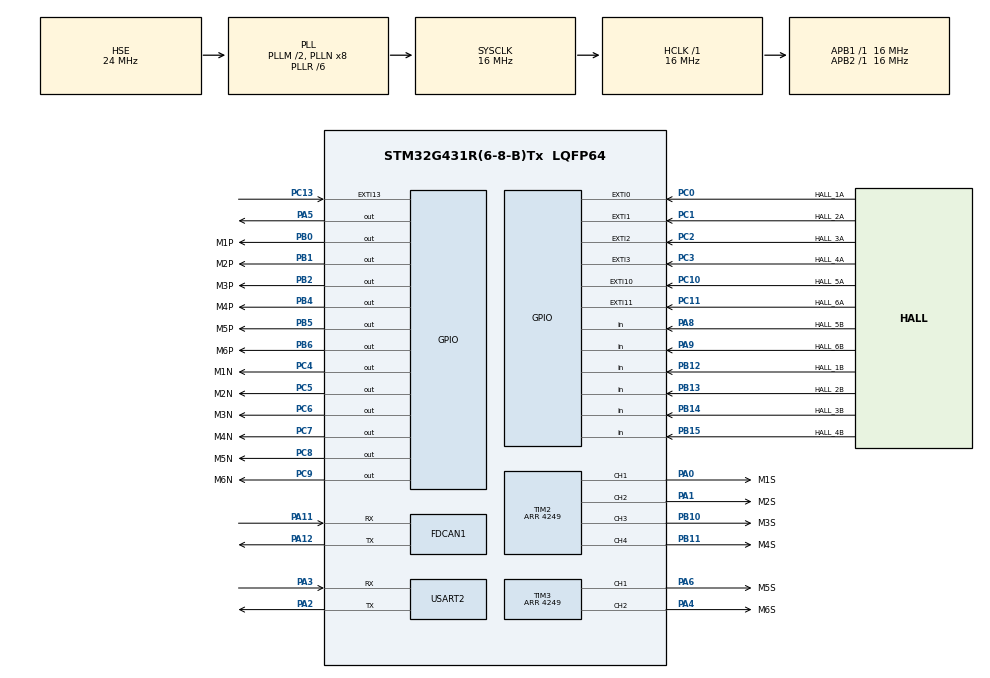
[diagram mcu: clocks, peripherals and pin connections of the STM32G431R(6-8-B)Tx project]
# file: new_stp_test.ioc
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FDCAN1.CalculateBaudRateNominal=125000
FDCAN1.CalculateTimeBitNominal=8000
FDCAN1.CalculateTimeQuantumNominal=500.0
FDCAN1.NominalPrescaler=8
FDCAN1.NominalTimeSeg1=11
FDCAN1.NominalTimeSeg2=4
Mcu.Family=STM32G4
Mcu.Name=STM32G431R(6-8-B)Tx
Mcu.Package=LQFP64
NUCLEO-G431RB.BUTTON=1
NUCLEO-G431RB.LD1=true
NUCLEO-G431RB.VCP=true
NVIC.EXTI0_IRQn=true\:0\:0\:false\:false\:true\:true\:true\:true
NVIC.EXTI15_10_IRQn=true\:0\:0\:false\:false\:true\:false\:true\:true
NVIC.EXTI1_IRQn=true\:0\:0\:false\:false\:true\:true\:true\:true
NVIC.EXTI2_IRQn=true\:0\:0\:false\:false\:true\:true\:true\:true
NVIC.EXTI3_IRQn=true\:0\:0\:false\:false\:true\:true\:true\:true
NVIC.PriorityGroup=NVIC_PRIORITYGROUP_4
PA0.GPIO_Label=M1S
PA0.Signal=S_TIM2_CH1
PA1.GPIO_Label=M2S
PA1.Signal=S_TIM2_CH2
PA11.Mode=FDCAN_Activate
PA11.Signal=FDCAN1_RX
PA12.Mode=FDCAN_Activate
PA12.Signal=FDCAN1_TX
PA13.GPIO_Label=T_SWDIO
PA13.Signal=SYS_JTMS-SWDIO
PA14.GPIO_Label=T_SWCLK
PA14.Signal=SYS_JTCK-SWCLK
PA2.Mode=Asynchronous
PA2.Signal=USART2_TX
PA3.Mode=Asynchronous
PA3.Signal=USART2_RX
PA4.GPIO_Label=M6S
PA4.Signal=S_TIM3_CH2
PA5.Signal=GPIO_Output
PA6.GPIO_Label=M5S
PA6.Signal=S_TIM3_CH1
PA8.GPIO_Label=HALL_5B
PA8.GPIO_PuPd=GPIO_PULLUP
PA8.Signal=GPIO_Input
PA9.GPIO_Label=HALL_6B
PA9.GPIO_PuPd=GPIO_PULLUP
PA9.Signal=GPIO_Input
PB0.GPIO_Label=M1P
PB0.Signal=GPIO_Output
PB1.GPIO_Label=M2P
PB1.Signal=GPIO_Output
PB10.GPIO_Label=M3S
PB10.Signal=S_TIM2_CH3
PB11.GPIO_Label=M4S
PB11.Signal=S_TIM2_CH4
PB12.GPIO_Label=HALL_1B
PB12.GPIO_PuPd=GPIO_PULLUP
PB12.Signal=GPIO_Input
PB13.GPIO_Label=HALL_2B
PB13.GPIO_PuPd=GPIO_PULLUP
PB13.Signal=GPIO_Input
PB14.GPIO_Label=HALL_3B
PB14.GPIO_PuPd=GPIO_PULLUP
PB14.Signal=GPIO_Input
PB15.GPIO_Label=HALL_4B
PB15.GPIO_PuPd=GPIO_PULLUP
PB15.Signal=GPIO_Input
PB2.GPIO_Label=M3P
PB2.Signal=GPIO_Output
PB3.GPIO_Label=T_SWO
PB3.Signal=SYS_JTDO-SWO
PB4.GPIO_Label=M4P
PB4.Signal=GPIO_Output
PB5.GPIO_Label=M5P
PB5.Signal=GPIO_Output
PB6.GPIO_Label=M6P
PB6.Signal=GPIO_Output
PC0.GPIO_Label=HALL_1A
PC0.GPIO_ModeDefaultEXTI=GPIO_MODE_IT_FALLING
PC0.GPIO_PuPd=GPIO_PULLUP
PC0.Signal=GPXTI0
PC1.GPIO_Label=HALL_2A
PC1.GPIO_ModeDefaultEXTI=GPIO_MODE_IT_FALLING
PC1.GPIO_PuPd=GPIO_PULLUP
PC1.Signal=GPXTI1
PC10.GPIO_Label=HALL_5A
PC10.GPIO_ModeDefaultEXTI=GPIO_MODE_IT_FALLING
PC10.GPIO_PuPd=GPIO_PULLUP
PC10.Signal=GPXTI10
PC11.GPIO_Label=HALL_6A
PC11.GPIO_ModeDefaultEXTI=GPIO_MODE_IT_FALLING
PC11.GPIO_PuPd=GPIO_PULLUP
PC11.Signal=GPXTI11
PC13.Signal=GPXTI13
PC14-OSC32_IN.GPIO_Label=RCC_OSC32_OUT
PC14-OSC32_IN.Signal=RCC_OSC32_IN
PC15-OSC32_OUT.GPIO_Label=RCC_OSC32_OUT
PC15-OSC32_OUT.Signal=RCC_OSC32_OUT
PC2.GPIO_Label=HALL_3A
PC2.GPIO_ModeDefaultEXTI=GPIO_MODE_IT_FALLING
PC2.GPIO_PuPd=GPIO_PULLUP
PC2.Signal=GPXTI2
PC3.GPIO_Label=HALL_4A
PC3.GPIO_ModeDefaultEXTI=GPIO_MODE_IT_FALLING
PC3.GPIO_PuPd=GPIO_PULLUP
PC3.Signal=GPXTI3
PC4.GPIO_Label=M1N
PC4.Signal=GPIO_Output
PC5.GPIO_Label=M2N
PC5.Signal=GPIO_Output
PC6.GPIO_Label=M3N
PC6.Signal=GPIO_Output
PC7.GPIO_Label=M4N
PC7.Signal=GPIO_Output
PC8.GPIO_Label=M5N
PC8.Signal=GPIO_Output
PC9.GPIO_Label=M6N
PC9.Signal=GPIO_Output
PF0-OSC_IN.GPIO_Label=RCC_OSC_IN
PF0-OSC_IN.Mode=HSE-External-Oscillator
PF0-OSC_IN.Signal=RCC_OSC_IN
PF1-OSC_OUT.GPIO_Label=RCC_OSC_OUT
PF1-OSC_OUT.Mode=HSE-External-Oscillator
PF1-OSC_OUT.Signal=RCC_OSC_OUT
ProjectManager.HeapSize=0x200
ProjectManager.StackSize=0x400
ProjectManager.TargetToolchain=STM32CubeIDE
RCC.ADC12Freq_Value=16000000
RCC.AHBFreq_Value=16000000
RCC.APB1Freq_Value=16000000
RCC.APB1TimFreq_Value=16000000
RCC.APB2Freq_Value=16000000
RCC.APB2TimFreq_Value=16000000
RCC.CortexFreq_Value=16000000
RCC.EXTERNAL_CLOCK_VALUE=12288000
RCC.HCLKFreq_Value=16000000
RCC.HSE_VALUE=24000000
RCC.HSI48_VALUE=48000000
RCC.HSI_VALUE=16000000
RCC.LSE_VALUE=32768
RCC.PLLM=RCC_PLLM_DIV2
RCC.PLLR=RCC_PLLR_DIV6
RCC.PLLSourceVirtual=RCC_PLLSOURCE_HSE
RCC.RTCClockSelection=RCC_RTCCLKSOURCE_LSE
RCC.SYSCLKFreq_VALUE=16000000
RCC.SYSCLKSource=RCC_SYSCLKSOURCE_PLLCLK
RCC.USBFreq_Value=48000000
RCC.VCOOutputFreq_Value=96000000
SH.S_TIM2_CH1.0=TIM2_CH1,PWM Generation1 CH1
SH.S_TIM2_CH2.0=TIM2_CH2,PWM Generation2 CH2
SH.S_TIM2_CH3.0=TIM2_CH3,PWM Generation3 CH3
SH.S_TIM2_CH4.0=TIM2_CH4,PWM Generation4 CH4
SH.S_TIM3_CH1.0=TIM3_CH1,PWM Generation1 CH1
SH.S_TIM3_CH2.0=TIM3_CH2,PWM Generation2 CH2
TIM1.Channel-PWM\ Generation1\ No\ Output=TIM_CHANNEL_1
TIM1.CounterMode=TIM_COUNTERMODE_CENTERALIGNED3
TIM1.PeriodNoDither=4249
TIM1.TIM_MasterOutputTrigger=TIM_TRGO_UPDATE
TIM1.TIM_MasterSlaveMode=TIM_MASTERSLAVEMODE_ENABLE
TIM2.Channel-PWM\ Generation1\ CH1=TIM_CHANNEL_1
TIM2.Channel-PWM\ Generation2\ CH2=TIM_CHANNEL_2
TIM2.Channel-PWM\ Generation3\ CH3=TIM_CHANNEL_3
TIM2.Channel-PWM\ Generation4\ CH4=TIM_CHANNEL_4
TIM2.CounterMode=TIM_COUNTERMODE_CENTERALIGNED3
TIM2.PeriodNoDither=4249
TIM2.PulseNoDither_2=2125
TIM2.PulseNoDither_3=2125
TIM2.PulseNoDither_4=2125
TIM3.Channel-PWM\ Generation1\ CH1=TIM_CHANNEL_1
TIM3.Channel-PWM\ Generation2\ CH2=TIM_CHANNEL_2
TIM3.CounterMode=TIM_COUNTERMODE_CENTERALIGNED3
TIM3.PeriodNoDither=4249
TIM3.PulseNoDither_1=2125
TIM3.PulseNoDither_2=2125
USART2.VirtualMode-Asynchronous=VM_ASYNC
VP_NUCLEO-G431RB_VS_BSP_COMMON.Mode=COMMON
VP_SYS_VS_DBSignals.Mode=DisableDeadBatterySignals
VP_TIM1_VS_ClockSourceINT.Mode=Internal
VP_TIM1_VS_no_output1.Mode=PWM Generation1 No Output
VP_TIM2_VS_ClockSourceINT.Mode=Internal
VP_TIM2_VS_ClockSourceITR.Mode=TriggerSource_ITR0
VP_TIM2_VS_ControllerModeReset.Mode=Reset Mode
VP_TIM3_VS_ClockSourceINT.Mode=Internal
VP_TIM3_VS_ClockSourceITR.Mode=TriggerSource_ITR0
VP_TIM3_VS_ControllerModeReset.Mode=Reset Mode
board=NUCLEO-G431RB

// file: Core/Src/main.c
/* USER CODE BEGIN Header */
/**
  ******************************************************************************
  * @file           : main.c
  * @brief          : Main program body
  ******************************************************************************
  * @attention
  *
  * Copyright (c) 2026 STMicroelectronics.
  * All rights reserved.
  *
  * This software is licensed under terms that can be found in the LICENSE file
  * in the root directory of this software component.
  * If no LICENSE file comes with this software, it is provided AS-IS.
  *
  ******************************************************************************
  */
/* USER CODE END Header */
#include "main.h"
#include <math.h>

COM_InitTypeDef BspCOMInit;
FDCAN_HandleTypeDef hfdcan1;

TIM_HandleTypeDef htim1;
TIM_HandleTypeDef htim2;
TIM_HandleTypeDef htim3;

UART_HandleTypeDef huart2;

/* USER CODE BEGIN PV */

//TIMERS
typedef struct {
    uint32_t now;
    uint32_t sec_marker;
    uint32_t count;
} timer;

volatile timer timer1;
volatile timer timer2;
volatile timer timer3_CAN_UDS;
volatile uint8_t timer1_flag = 0U;

//Motor states and stuff
#define NUM_MOTORS 2
#define RUN_CALIBRATION_ON_BOOT 1U
#define CALIBRATION_TICKS       500U
#define CALIBRATION_DUTY        (full_cycle / 4U)
#define CALIBRATION_TIMEOUT_MS  15000U

typedef struct {
    volatile int32_t ticks;            // net position, signed: +forward, -backward
    volatile uint32_t distance_ticks;  // ALWAYS increments regardless of direction.
                                        // This is what a distance "quota" checks against.
    volatile uint32_t total_ticks;     // lifetime Hall edges since this boot
    uint32_t target_ticks;             // quota target for the current move, in pulses
    volatile uint8_t active;           // 1 while this motor is still moving toward target
} motor;

static motor motors[NUM_MOTORS];

// Per-motor hardware mapping: which timer/channel drives it, which GPIO pins
// set its direction, and which Hall pins belong to it.
typedef struct {
    TIM_HandleTypeDef *htim;
    uint32_t channel;
    uint16_t p_pin;          // forward-direction pin, on GPIOB
    uint16_t n_pin;          // backward-direction pin, on GPIOC
    uint16_t hall_a_pin;     // interrupt pin, on GPIOC
    GPIO_TypeDef *hall_b_port;
    uint16_t hall_b_pin;     // direction-sense pin, read (not interrupt)
} MotorHW;

static MotorHW motors_hw[NUM_MOTORS] = {
    { &htim2, TIM_CHANNEL_1, M1P_Pin, M1N_Pin, HALL_1A_Pin, GPIOB, HALL_1B_Pin },
    { &htim2, TIM_CHANNEL_2, M2P_Pin, M2N_Pin, HALL_2A_Pin, GPIOB, HALL_2B_Pin },
};

// Pulses-per-mm calibration, one per actuator. MEASURE THESE (see notes near
// moveAllMM below) - placeholder values will give wrong distances until you do.
static float pulsesPerMM[NUM_MOTORS] = {10.0f, 10.0f};

uint32_t full_cycle = 4249;

/* USER CODE END PV */

void SystemClock_Config(void);
static void MX_GPIO_Init(void);
static void MX_FDCAN1_Init(void);
static void MX_TIM1_Init(void);
static void MX_TIM2_Init(void);
static void MX_TIM3_Init(void);
static void MX_USART2_UART_Init(void);
/* USER CODE BEGIN PFP */
timer start_timer()
{
	timer timer;
    timer.now = HAL_GetTick();
    timer.sec_marker = 0U;
    timer.count = 0;
    return timer;
}

uint32_t elapsed(timer timer)
{
    return (uint32_t)(HAL_GetTick() - timer.now);
}

// Start motor idx moving toward target_ticks pulses of DISTANCE (not net
// position). duty is the raw CCR compare value for that motor's timer.
void motor_start(uint8_t idx, uint8_t forward, uint32_t target_ticks, uint32_t duty)
{
    MotorHW *hw = &motors_hw[idx];

    __disable_irq();
    motors[idx].distance_ticks = 0;
    __enable_irq();

    motors[idx].target_ticks = target_ticks;
    motors[idx].active = (target_ticks > 0) ? 1U : 0U;

    if (!motors[idx].active) {
        return;
    }

    if (forward) {
        HAL_GPIO_WritePin(GPIOC, hw->n_pin, GPIO_PIN_RESET);
        HAL_GPIO_WritePin(GPIOB, hw->p_pin, GPIO_PIN_SET);
    } else {
        HAL_GPIO_WritePin(GPIOB, hw->p_pin, GPIO_PIN_RESET);
        HAL_GPIO_WritePin(GPIOC, hw->n_pin, GPIO_PIN_SET);
    }

    __HAL_TIM_SET_COMPARE(hw->htim, hw->channel, duty);
    HAL_TIM_PWM_Start(hw->htim, hw->channel);
}

// Stop motor idx: cuts PWM and releases both direction pins (coast, not brake).
void motor_stop(uint8_t idx)
{
    MotorHW *hw = &motors_hw[idx];
    HAL_TIM_PWM_Stop(hw->htim, hw->channel);
    HAL_GPIO_WritePin(GPIOB, hw->p_pin, GPIO_PIN_RESET);
    HAL_GPIO_WritePin(GPIOC, hw->n_pin, GPIO_PIN_RESET);
    motors[idx].active = 0U;
}

void go(void)
{
    GPIOB->BSRR = M1P_Pin | M2P_Pin;
    GPIOC->BSRR = (uint32_t)(M1N_Pin | M2N_Pin) << 16U;

    __HAL_TIM_SET_COMPARE(&htim2, TIM_CHANNEL_1, full_cycle / 2U);
    __HAL_TIM_SET_COMPARE(&htim2, TIM_CHANNEL_2, full_cycle / 2U);

    HAL_TIM_PWM_Start(&htim2, TIM_CHANNEL_1);
    HAL_TIM_PWM_Start(&htim2, TIM_CHANNEL_2);
    HAL_TIM_PWM_Start(&htim1, TIM_CHANNEL_1);
}

void reverse(void)
{
    GPIOB->BSRR = (uint32_t)(M1P_Pin | M2P_Pin) << 16U;
    GPIOC->BSRR = M1N_Pin | M2N_Pin;

    __HAL_TIM_SET_COMPARE(&htim2, TIM_CHANNEL_1, full_cycle / 2U);
    __HAL_TIM_SET_COMPARE(&htim2, TIM_CHANNEL_2, full_cycle / 2U);

    HAL_TIM_PWM_Start(&htim2, TIM_CHANNEL_1);
    HAL_TIM_PWM_Start(&htim2, TIM_CHANNEL_2);
    HAL_TIM_PWM_Start(&htim1, TIM_CHANNEL_1);
}

// Call every main-loop iteration. Independently stops each motor the instant
// IT (not the others) reaches its own distance quota.
void motors_check(void)
{
    for (uint8_t i = 0; i < NUM_MOTORS; i++) {
        if (!motors[i].active) continue;

        uint32_t d;
        __disable_irq();
        d = motors[i].distance_ticks;
        __enable_irq();

        if (d >= motors[i].target_ticks) {
            motor_stop(i);
        }
    }
}

// Command all 6 actuators at once. distancesMM[i] > 0 = extend, < 0 = retract.
// duty is the same raw CCR value applied to every motor (0..full_cycle).
//
// CALIBRATION (per actuator, update pulsesPerMM[] above):
//   1. Fully retract actuator i to a known reference point.
//   2. moveAllMM() with only actuators[i] non-zero, e.g. 100.0f, others 0.
//   3. Measure ACTUAL travel with calipers once it stops.
//   4. Read motors[i].distance_ticks (breakpoint or UART) at the moment it stopped.
//   5. pulsesPerMM[i] = distance_ticks / actual_mm_measured
//   Repeat per actuator - small mechanical variance is normal between units.
void moveAllMM(const float distancesMM[NUM_MOTORS], uint32_t duty)
{
    for (uint8_t i = 0; i < NUM_MOTORS; i++) {
        uint8_t forward = (distancesMM[i] >= 0.0f) ? 1U : 0U;
        uint32_t target = (uint32_t)(fabsf(distancesMM[i]) * pulsesPerMM[i]);
        motor_start(i, forward, target, duty);
    }

    HAL_TIM_PWM_Start(&htim1, TIM_CHANNEL_1);
}

uint8_t allMotorsDone(void)
{
    for (uint8_t i = 0; i < NUM_MOTORS; i++) {
        if (motors[i].active) return 0U;
    }
    return 1U;
}

// One-shot calibration move. Both actuators start forward with the same
// Hall-tick quota. Each actuator stops independently when it reaches the quota.
// Measure each actuator's physical travel afterwards, then calculate:
// pulsesPerMM[i] = CALIBRATION_TICKS / measured_distance_mm
static void runCalibrationSequence(void)
{
    uint32_t started_at = HAL_GetTick();
    char message[96];

    HAL_UART_Transmit(
        &huart2,
        (uint8_t *)"Calibration starting\r\n",
        sizeof("Calibration starting\r\n") - 1U,
        HAL_MAX_DELAY
    );

    for (uint8_t i = 0; i < NUM_MOTORS; i++) {
        motor_start(i, 1U, CALIBRATION_TICKS, CALIBRATION_DUTY);
    }

    // TIM1 is the internal synchronization master for TIM2 and TIM3.
    HAL_TIM_PWM_Start(&htim1, TIM_CHANNEL_1);

    while (!allMotorsDone()) {
        motors_check();

        if ((uint32_t)(HAL_GetTick() - started_at) >= CALIBRATION_TIMEOUT_MS) {
            for (uint8_t i = 0; i < NUM_MOTORS; i++) {
                if (motors[i].active) {
                    motor_stop(i);
                }
            }

            HAL_TIM_PWM_Stop(&htim1, TIM_CHANNEL_1);
            HAL_UART_Transmit(
                &huart2,
                (uint8_t *)"Calibration timeout - both motors stopped\r\n",
                sizeof("Calibration timeout - both motors stopped\r\n") - 1U,
                HAL_MAX_DELAY
            );
            return;
        }
    }

    HAL_TIM_PWM_Stop(&htim1, TIM_CHANNEL_1);

    for (uint8_t i = 0; i < NUM_MOTORS; i++) {
        int length = snprintf(
            message,
            sizeof(message),
            "M%u: %lu calibration ticks, signed position %ld\r\n",
            (unsigned int)(i + 1U),
            (unsigned long)motors[i].distance_ticks,
            (long)motors[i].ticks
        );

        HAL_UART_Transmit(
            &huart2,
            (uint8_t *)message,
            (uint16_t)length,
            HAL_MAX_DELAY
        );
    }

    HAL_UART_Transmit(
        &huart2,
        (uint8_t *)"Calibration complete - measure each actuator travel\r\n",
        sizeof("Calibration complete - measure each actuator travel\r\n") - 1U,
        HAL_MAX_DELAY
    );
}

void testCAN()
{

}

/* USER CODE END PFP */

int main(void)
{

  /* MCU Configuration--------------------------------------------------------*/

  /* Reset of all peripherals, Initializes the Flash interface and the Systick. */
  HAL_Init();

  /* USER CODE BEGIN Init */
  //uint32_t now = HAL_GetTick();
  /* USER CODE END Init */

  /* Configure the system clock */
  SystemClock_Config();

  MX_GPIO_Init();
  MX_FDCAN1_Init();
  MX_TIM1_Init();
  MX_TIM2_Init();
  MX_TIM3_Init();
  MX_USART2_UART_Init();
  /* USER CODE BEGIN 2 */
  HAL_UART_Transmit(
      &huart2,
      (uint8_t *)"STM32 started\r\n",
      sizeof("STM32 started\r\n") - 1,
      HAL_MAX_DELAY
  );

  /* USER CODE END 2 */

  /* Initialize leds */
  BSP_LED_Init(LED_GREEN);

  /* Initialize USER push-button, will be used to trigger an interrupt each time it's pressed.*/
  BSP_PB_Init(BUTTON_USER, BUTTON_MODE_EXTI);

  /* Initialize COM1 port (115200, 8 bits (7-bit data + 1 stop bit), no parity */ /*
  BspCOMInit.BaudRate   = 115200;
  BspCOMInit.WordLength = COM_WORDLENGTH_8B;
  BspCOMInit.StopBits   = COM_STOPBITS_1;
  BspCOMInit.Parity     = COM_PARITY_NONE;
  BspCOMInit.HwFlowCtl  = COM_HWCONTROL_NONE;
  if (BSP_COM_Init(COM1, &BspCOMInit) != BSP_ERROR_NONE)
  {
    Error_Handler();
  }
  HAL_UART_Transmit(
      &huart2,
      (uint8_t *)"AFTER BSP\r\n",
      sizeof("AFTER BSP\r\n") - 1,
      1000
  );
*/
  /* Infinite loop */
  /* USER CODE BEGIN WHILE */
  HAL_FDCAN_Start(&hfdcan1);

  FDCAN_TxHeaderTypeDef count;

  count.Identifier = 0x123;
  count.IdType = FDCAN_STANDARD_ID;
  count.TxFrameType = FDCAN_DATA_FRAME;
  count.DataLength = FDCAN_DLC_BYTES_8;
  count.ErrorStateIndicator = FDCAN_ESI_ACTIVE;
  count.BitRateSwitch = FDCAN_BRS_OFF;
  count.FDFormat = FDCAN_CLASSIC_CAN;
  count.TxEventFifoControl = FDCAN_NO_TX_EVENTS;
  count.MessageMarker = 0;
  uint8_t CAN_counter = 0;
  static char uart_buffer[96];
  uint32_t last_hall_log_ms;

  //if (RUN_CALIBRATION_ON_BOOT) {
  //    runCalibrationSequence();
  //}

  last_hall_log_ms = HAL_GetTick();

  // Example: extend both actuators 150mm at ~50% duty. Remove/replace this
  // with whatever triggers a move in your app (button, CAN command, etc).
  // float example_targets[NUM_MOTORS] = {150.0f, 150.0f};
  // moveAllMM(example_targets, full_cycle / 2);

  // Quick motor reset helpers (uses the PWM duty already in the CCR registers):
  // reverse();
  // go
  HAL_UART_Transmit(
      &huart2,
      (uint8_t *)"time_ms,M1_total,M2_total,M1_position,M2_position\r\n",
      sizeof("time_ms,M1_total,M2_total,M1_position,M2_position\r\n") - 1U,
      HAL_MAX_DELAY
  );
  runCalibrationSequence();
  while (1)
  {

	  // Independently stops each actuator the moment IT reaches its own quota.
	  motors_check();

	  //Task 1: LED toggle
	  	  uint32_t elapsed_time2 = elapsed(timer2);
	  	      if (elapsed_time2 - timer2.sec_marker >= 50U){
	  	    	  //BSP_LED_Toggle(LED_GREEN);
	  	    	  timer2.sec_marker += 50U;
	  	      }

	  // Log M1/M2 Hall totals and signed positions as CSV once per second.
	  uint32_t now_ms = HAL_GetTick();
	  if ((uint32_t)(now_ms - last_hall_log_ms) >= 1000U) {
	      uint32_t m1_total;
	      uint32_t m2_total;
	      int32_t m1_position;
	      int32_t m2_position;

	      last_hall_log_ms += 1000U;

	      __disable_irq();
	      m1_total = motors[0].total_ticks;
	      m2_total = motors[1].total_ticks;
	      m1_position = motors[0].ticks;
	      m2_position = motors[1].ticks;
	      __enable_irq();

	      int length = snprintf(
	          uart_buffer,
	          sizeof(uart_buffer),
	          "%lu,%lu,%lu,%ld,%ld\r\n",
	          (unsigned long)now_ms,
	          (unsigned long)m1_total,
	          (unsigned long)m2_total,
	          (long)m1_position,
	          (long)m2_position
	      );

	      HAL_UART_Transmit(
	          &huart2,
	          (uint8_t *)uart_buffer,
	          (uint16_t)length,
	          HAL_MAX_DELAY
	      );
	  }

	  //Task 3: CAN transmit
	  uint32_t elapsed_timeCAN = elapsed(timer3_CAN_UDS);
	  if (elapsed_timeCAN - timer3_CAN_UDS.sec_marker >= 1000U){
		  uint8_t countData[8];
		  countData[0] = CAN_counter++;
	      countData[1] = 0;
		  countData[2] = 0;
		  countData[3] = 0;
		  countData[4] = 0;
		  countData[5] = 0;
		  countData[6] = 0;
		  countData[7] = 0;
		  HAL_StatusTypeDef txStatus =
			  HAL_FDCAN_AddMessageToTxFifoQ(
				  &hfdcan1,
				  &count,
				  countData
				  );
		  timer3_CAN_UDS.sec_marker += 1000U;

		}

    /* USER CODE END WHILE */

}
}

void SystemClock_Config(void)
{
  RCC_OscInitTypeDef RCC_OscInitStruct = {0};
  RCC_ClkInitTypeDef RCC_ClkInitStruct = {0};

  /** Configure the main internal regulator output voltage
  */
  HAL_PWREx_ControlVoltageScaling(PWR_REGULATOR_VOLTAGE_SCALE1);

  /** Initializes the RCC Oscillators according to the specified parameters
  * in the RCC_OscInitTypeDef structure.
  */
  RCC_OscInitStruct.OscillatorType = RCC_OSCILLATORTYPE_HSE;
  RCC_OscInitStruct.HSEState = RCC_HSE_ON;
  RCC_OscInitStruct.PLL.PLLState = RCC_PLL_ON;
  RCC_OscInitStruct.PLL.PLLSource = RCC_PLLSOURCE_HSE;
  RCC_OscInitStruct.PLL.PLLM = RCC_PLLM_DIV2;
  RCC_OscInitStruct.PLL.PLLN = 8;
  RCC_OscInitStruct.PLL.PLLP = RCC_PLLP_DIV2;
  RCC_OscInitStruct.PLL.PLLQ = RCC_PLLQ_DIV2;
  RCC_OscInitStruct.PLL.PLLR = RCC_PLLR_DIV6;
  if (HAL_RCC_OscConfig(&RCC_OscInitStruct) != HAL_OK)
  {
    Error_Handler();
  }

  /** Initializes the CPU, AHB and APB buses clocks
  */
  RCC_ClkInitStruct.ClockType = RCC_CLOCKTYPE_HCLK|RCC_CLOCKTYPE_SYSCLK
                              |RCC_CLOCKTYPE_PCLK1|RCC_CLOCKTYPE_PCLK2;
  RCC_ClkInitStruct.SYSCLKSource = RCC_SYSCLKSOURCE_PLLCLK;
  RCC_ClkInitStruct.AHBCLKDivider = RCC_SYSCLK_DIV1;
  RCC_ClkInitStruct.APB1CLKDivider = RCC_HCLK_DIV1;
  RCC_ClkInitStruct.APB2CLKDivider = RCC_HCLK_DIV1;

  if (HAL_RCC_ClockConfig(&RCC_ClkInitStruct, FLASH_LATENCY_0) != HAL_OK)
  {
    Error_Handler();
  }
}

static void MX_FDCAN1_Init(void)
{

  hfdcan1.Instance = FDCAN1;
  hfdcan1.Init.ClockDivider = FDCAN_CLOCK_DIV1;
  hfdcan1.Init.FrameFormat = FDCAN_FRAME_CLASSIC;
  hfdcan1.Init.Mode = FDCAN_MODE_NORMAL;
  hfdcan1.Init.AutoRetransmission = DISABLE;
  hfdcan1.Init.TransmitPause = DISABLE;
  hfdcan1.Init.ProtocolException = DISABLE;
  hfdcan1.Init.NominalPrescaler = 8;
  hfdcan1.Init.NominalSyncJumpWidth = 1;
  hfdcan1.Init.NominalTimeSeg1 = 11;
  hfdcan1.Init.NominalTimeSeg2 = 4;
  hfdcan1.Init.DataPrescaler = 1;
  hfdcan1.Init.DataSyncJumpWidth = 1;
  hfdcan1.Init.DataTimeSeg1 = 1;
  hfdcan1.Init.DataTimeSeg2 = 1;
  hfdcan1.Init.StdFiltersNbr = 0;
  hfdcan1.Init.ExtFiltersNbr = 0;
  hfdcan1.Init.TxFifoQueueMode = FDCAN_TX_FIFO_OPERATION;
  if (HAL_FDCAN_Init(&hfdcan1) != HAL_OK)
  {
    Error_Handler();
  }

}

static void MX_TIM1_Init(void)
{

  TIM_ClockConfigTypeDef sClockSourceConfig = {0};
  TIM_MasterConfigTypeDef sMasterConfig = {0};
  TIM_OC_InitTypeDef sConfigOC = {0};
  TIM_BreakDeadTimeConfigTypeDef sBreakDeadTimeConfig = {0};

  htim1.Instance = TIM1;
  htim1.Init.Prescaler = 0;
  htim1.Init.CounterMode = TIM_COUNTERMODE_CENTERALIGNED3;
  htim1.Init.Period = 4249;
  htim1.Init.ClockDivision = TIM_CLOCKDIVISION_DIV1;
  htim1.Init.RepetitionCounter = 0;
  htim1.Init.AutoReloadPreload = TIM_AUTORELOAD_PRELOAD_DISABLE;
  if (HAL_TIM_Base_Init(&htim1) != HAL_OK)
  {
    Error_Handler();
  }
  sClockSourceConfig.ClockSource = TIM_CLOCKSOURCE_INTERNAL;
  if (HAL_TIM_ConfigClockSource(&htim1, &sClockSourceConfig) != HAL_OK)
  {
    Error_Handler();
  }
  if (HAL_TIM_PWM_Init(&htim1) != HAL_OK)
  {
    Error_Handler();
  }
  sMasterConfig.MasterOutputTrigger = TIM_TRGO_UPDATE;
  sMasterConfig.MasterOutputTrigger2 = TIM_TRGO2_RESET;
  sMasterConfig.MasterSlaveMode = TIM_MASTERSLAVEMODE_ENABLE;
  if (HAL_TIMEx_MasterConfigSynchronization(&htim1, &sMasterConfig) != HAL_OK)
  {
    Error_Handler();
  }
  sConfigOC.OCMode = TIM_OCMODE_PWM1;
  sConfigOC.Pulse = 0;
  sConfigOC.OCPolarity = TIM_OCPOLARITY_HIGH;
  sConfigOC.OCNPolarity = TIM_OCNPOLARITY_HIGH;
  sConfigOC.OCFastMode = TIM_OCFAST_DISABLE;
  sConfigOC.OCIdleState = TIM_OCIDLESTATE_RESET;
  sConfigOC.OCNIdleState = TIM_OCNIDLESTATE_RESET;
  if (HAL_TIM_PWM_ConfigChannel(&htim1, &sConfigOC, TIM_CHANNEL_1) != HAL_OK)
  {
    Error_Handler();
  }
  sBreakDeadTimeConfig.OffStateRunMode = TIM_OSSR_DISABLE;
  sBreakDeadTimeConfig.OffStateIDLEMode = TIM_OSSI_DISABLE;
  sBreakDeadTimeConfig.LockLevel = TIM_LOCKLEVEL_OFF;
  sBreakDeadTimeConfig.DeadTime = 0;
  sBreakDeadTimeConfig.BreakState = TIM_BREAK_DISABLE;
  sBreakDeadTimeConfig.BreakPolarity = TIM_BREAKPOLARITY_HIGH;
  sBreakDeadTimeConfig.BreakFilter = 0;
  sBreakDeadTimeConfig.BreakAFMode = TIM_BREAK_AFMODE_INPUT;
  sBreakDeadTimeConfig.Break2State = TIM_BREAK2_DISABLE;
  sBreakDeadTimeConfig.Break2Polarity = TIM_BREAK2POLARITY_HIGH;
  sBreakDeadTimeConfig.Break2Filter = 0;
  sBreakDeadTimeConfig.Break2AFMode = TIM_BREAK_AFMODE_INPUT;
  sBreakDeadTimeConfig.AutomaticOutput = TIM_AUTOMATICOUTPUT_DISABLE;
  if (HAL_TIMEx_ConfigBreakDeadTime(&htim1, &sBreakDeadTimeConfig) != HAL_OK)
  {
    Error_Handler();
  }

}

static void MX_TIM2_Init(void)
{

  TIM_ClockConfigTypeDef sClockSourceConfig = {0};
  TIM_SlaveConfigTypeDef sSlaveConfig = {0};
  TIM_MasterConfigTypeDef sMasterConfig = {0};
  TIM_OC_InitTypeDef sConfigOC = {0};

  htim2.Instance = TIM2;
  htim2.Init.Prescaler = 0;
  htim2.Init.CounterMode = TIM_COUNTERMODE_CENTERALIGNED3;
  htim2.Init.Period = 4249;
  htim2.Init.ClockDivision = TIM_CLOCKDIVISION_DIV1;
  htim2.Init.AutoReloadPreload = TIM_AUTORELOAD_PRELOAD_DISABLE;
  if (HAL_TIM_Base_Init(&htim2) != HAL_OK)
  {
    Error_Handler();
  }
  sClockSourceConfig.ClockSource = TIM_CLOCKSOURCE_INTERNAL;
  if (HAL_TIM_ConfigClockSource(&htim2, &sClockSourceConfig) != HAL_OK)
  {
    Error_Handler();
  }
  if (HAL_TIM_PWM_Init(&htim2) != HAL_OK)
  {
    Error_Handler();
  }
  sSlaveConfig.SlaveMode = TIM_SLAVEMODE_RESET;
  sSlaveConfig.InputTrigger = TIM_TS_ITR0;
  if (HAL_TIM_SlaveConfigSynchro(&htim2, &sSlaveConfig) != HAL_OK)
  {
    Error_Handler();
  }
  sMasterConfig.MasterOutputTrigger = TIM_TRGO_RESET;
  sMasterConfig.MasterSlaveMode = TIM_MASTERSLAVEMODE_DISABLE;
  if (HAL_TIMEx_MasterConfigSynchronization(&htim2, &sMasterConfig) != HAL_OK)
  {
    Error_Handler();
  }
  sConfigOC.OCMode = TIM_OCMODE_PWM1;
  sConfigOC.Pulse = 2125;
  sConfigOC.OCPolarity = TIM_OCPOLARITY_HIGH;
  sConfigOC.OCFastMode = TIM_OCFAST_DISABLE;
  if (HAL_TIM_PWM_ConfigChannel(&htim2, &sConfigOC, TIM_CHANNEL_1) != HAL_OK)
  {
    Error_Handler();
  }
  sConfigOC.Pulse = 2125;
  if (HAL_TIM_PWM_ConfigChannel(&htim2, &sConfigOC, TIM_CHANNEL_2) != HAL_OK)
  {
    Error_Handler();
  }
  if (HAL_TIM_PWM_ConfigChannel(&htim2, &sConfigOC, TIM_CHANNEL_3) != HAL_OK)
  {
    Error_Handler();
  }
  if (HAL_TIM_PWM_ConfigChannel(&htim2, &sConfigOC, TIM_CHANNEL_4) != HAL_OK)
  {
    Error_Handler();
  }
  HAL_TIM_MspPostInit(&htim2);

}

static void MX_TIM3_Init(void)
{

  TIM_ClockConfigTypeDef sClockSourceConfig = {0};
  TIM_SlaveConfigTypeDef sSlaveConfig = {0};
  TIM_MasterConfigTypeDef sMasterConfig = {0};
  TIM_OC_InitTypeDef sConfigOC = {0};

  htim3.Instance = TIM3;
  htim3.Init.Prescaler = 0;
  htim3.Init.CounterMode = TIM_COUNTERMODE_CENTERALIGNED3;
  htim3.Init.Period = 4249;
  htim3.Init.ClockDivision = TIM_CLOCKDIVISION_DIV1;
  htim3.Init.AutoReloadPreload = TIM_AUTORELOAD_PRELOAD_DISABLE;
  if (HAL_TIM_Base_Init(&htim3) != HAL_OK)
  {
    Error_Handler();
  }
  sClockSourceConfig.ClockSource = TIM_CLOCKSOURCE_INTERNAL;
  if (HAL_TIM_ConfigClockSource(&htim3, &sClockSourceConfig) != HAL_OK)
  {
    Error_Handler();
  }
  if (HAL_TIM_PWM_Init(&htim3) != HAL_OK)
  {
    Error_Handler();
  }
  sSlaveConfig.SlaveMode = TIM_SLAVEMODE_RESET;
  sSlaveConfig.InputTrigger = TIM_TS_ITR0;
  if (HAL_TIM_SlaveConfigSynchro(&htim3, &sSlaveConfig) != HAL_OK)
  {
    Error_Handler();
  }
  sMasterConfig.MasterOutputTrigger = TIM_TRGO_RESET;
  sMasterConfig.MasterSlaveMode = TIM_MASTERSLAVEMODE_DISABLE;
  if (HAL_TIMEx_MasterConfigSynchronization(&htim3, &sMasterConfig) != HAL_OK)
  {
    Error_Handler();
  }
  sConfigOC.OCMode = TIM_OCMODE_PWM1;
  sConfigOC.Pulse = 2125;
  sConfigOC.OCPolarity = TIM_OCPOLARITY_HIGH;
  sConfigOC.OCFastMode = TIM_OCFAST_DISABLE;
  if (HAL_TIM_PWM_ConfigChannel(&htim3, &sConfigOC, TIM_CHANNEL_1) != HAL_OK)
  {
    Error_Handler();
  }
  if (HAL_TIM_PWM_ConfigChannel(&htim3, &sConfigOC, TIM_CHANNEL_2) != HAL_OK)
  {
    Error_Handler();
  }
  HAL_TIM_MspPostInit(&htim3);

}

static void MX_USART2_UART_Init(void)
{

  huart2.Instance = USART2;
  huart2.Init.BaudRate = 115200;
  huart2.Init.WordLength = UART_WORDLENGTH_8B;
  huart2.Init.StopBits = UART_STOPBITS_1;
  huart2.Init.Parity = UART_PARITY_NONE;
  huart2.Init.Mode = UART_MODE_TX_RX;
  huart2.Init.HwFlowCtl = UART_HWCONTROL_NONE;
  huart2.Init.OverSampling = UART_OVERSAMPLING_16;
  huart2.Init.OneBitSampling = UART_ONE_BIT_SAMPLE_DISABLE;
  huart2.Init.ClockPrescaler = UART_PRESCALER_DIV1;
  huart2.AdvancedInit.AdvFeatureInit = UART_ADVFEATURE_NO_INIT;
  if (HAL_UART_Init(&huart2) != HAL_OK)
  {
    Error_Handler();
  }
  if (HAL_UARTEx_SetTxFifoThreshold(&huart2, UART_TXFIFO_THRESHOLD_1_8) != HAL_OK)
  {
    Error_Handler();
  }
  if (HAL_UARTEx_SetRxFifoThreshold(&huart2, UART_RXFIFO_THRESHOLD_1_8) != HAL_OK)
  {
    Error_Handler();
  }
  if (HAL_UARTEx_DisableFifoMode(&huart2) != HAL_OK)
  {
    Error_Handler();
  }

}

static void MX_GPIO_Init(void)
{
  GPIO_InitTypeDef GPIO_InitStruct = {0};

  /* GPIO Ports Clock Enable */
  __HAL_RCC_GPIOC_CLK_ENABLE();
  __HAL_RCC_GPIOF_CLK_ENABLE();
  __HAL_RCC_GPIOA_CLK_ENABLE();
  __HAL_RCC_GPIOB_CLK_ENABLE();

  /*Configure GPIO pin Output Level */
  HAL_GPIO_WritePin(GPIOC, M1N_Pin|M2N_Pin|M3N_Pin|M4N_Pin
                          |M5N_Pin|M6N_Pin, GPIO_PIN_RESET);

  /*Configure GPIO pin Output Level */
  HAL_GPIO_WritePin(GPIOB, M1P_Pin|M2P_Pin|M3P_Pin|M4P_Pin
                          |M5P_Pin|M6P_Pin, GPIO_PIN_RESET);

  /*Configure GPIO pins : HALL_1A_Pin HALL_2A_Pin HALL_3A_Pin HALL_4A_Pin
                           HALL_5A_Pin HALL_6A_Pin */
  GPIO_InitStruct.Pin = HALL_1A_Pin|HALL_2A_Pin|HALL_3A_Pin|HALL_4A_Pin
                          |HALL_5A_Pin|HALL_6A_Pin;
  GPIO_InitStruct.Mode = GPIO_MODE_IT_FALLING;
  GPIO_InitStruct.Pull = GPIO_PULLUP;
  HAL_GPIO_Init(GPIOC, &GPIO_InitStruct);

  /*Configure GPIO pins : M1N_Pin M2N_Pin M3N_Pin M4N_Pin
                           M5N_Pin M6N_Pin */
  GPIO_InitStruct.Pin = M1N_Pin|M2N_Pin|M3N_Pin|M4N_Pin
                          |M5N_Pin|M6N_Pin;
  GPIO_InitStruct.Mode = GPIO_MODE_OUTPUT_PP;
  GPIO_InitStruct.Pull = GPIO_NOPULL;
  GPIO_InitStruct.Speed = GPIO_SPEED_FREQ_LOW;
  HAL_GPIO_Init(GPIOC, &GPIO_InitStruct);

  /*Configure GPIO pins : M1P_Pin M2P_Pin M3P_Pin M4P_Pin
                           M5P_Pin M6P_Pin */
  GPIO_InitStruct.Pin = M1P_Pin|M2P_Pin|M3P_Pin|M4P_Pin
                          |M5P_Pin|M6P_Pin;
  GPIO_InitStruct.Mode = GPIO_MODE_OUTPUT_PP;
  GPIO_InitStruct.Pull = GPIO_NOPULL;
  GPIO_InitStruct.Speed = GPIO_SPEED_FREQ_LOW;
  HAL_GPIO_Init(GPIOB, &GPIO_InitStruct);

  /*Configure GPIO pins : HALL_1B_Pin HALL_2B_Pin HALL_3B_Pin HALL_4B_Pin */
  GPIO_InitStruct.Pin = HALL_1B_Pin|HALL_2B_Pin|HALL_3B_Pin|HALL_4B_Pin;
  GPIO_InitStruct.Mode = GPIO_MODE_INPUT;
  GPIO_InitStruct.Pull = GPIO_PULLUP;
  HAL_GPIO_Init(GPIOB, &GPIO_InitStruct);

  /*Configure GPIO pins : HALL_5B_Pin HALL_6B_Pin */
  GPIO_InitStruct.Pin = HALL_5B_Pin|HALL_6B_Pin;
  GPIO_InitStruct.Mode = GPIO_MODE_INPUT;
  GPIO_InitStruct.Pull = GPIO_PULLUP;
  HAL_GPIO_Init(GPIOA, &GPIO_InitStruct);

  /* EXTI interrupt init*/
  HAL_NVIC_SetPriority(EXTI0_IRQn, 0, 0);
  HAL_NVIC_EnableIRQ(EXTI0_IRQn);

  HAL_NVIC_SetPriority(EXTI1_IRQn, 0, 0);
  HAL_NVIC_EnableIRQ(EXTI1_IRQn);

  HAL_NVIC_SetPriority(EXTI2_IRQn, 0, 0);
  HAL_NVIC_EnableIRQ(EXTI2_IRQn);

  HAL_NVIC_SetPriority(EXTI3_IRQn, 0, 0);
  HAL_NVIC_EnableIRQ(EXTI3_IRQn);

  HAL_NVIC_SetPriority(EXTI15_10_IRQn, 0, 0);
  HAL_NVIC_EnableIRQ(EXTI15_10_IRQn);

}

/* USER CODE BEGIN 4 */
void BSP_PB_Callback(Button_TypeDef Button)
{
    if (Button == BUTTON_USER)
    {
        timer1 = start_timer();
        timer1_flag = 1U;
    }
}

// Table lookup keeps M1 and M2 Hall input handling consistent.
void HAL_GPIO_EXTI_Callback(uint16_t GPIO_Pin)
{
    for (uint8_t i = 0; i < NUM_MOTORS; i++) {
        if (GPIO_Pin == motors_hw[i].hall_a_pin) {
            motors[i].distance_ticks++;
            motors[i].total_ticks++;

            if ((motors_hw[i].hall_b_port->IDR & motors_hw[i].hall_b_pin) != 0U) {
                motors[i].ticks++;
            } else {
                motors[i].ticks--;
            }
            return;
        }
    }
    // Not one of the two motor Hall pins (e.g. user button EXTI) - ignore here,
    // BSP_PB_Callback handles the button separately.
}
/* USER CODE END 4 */

void Error_Handler(void)
{
  __disable_irq();
  while (1)
  {
  }
}
